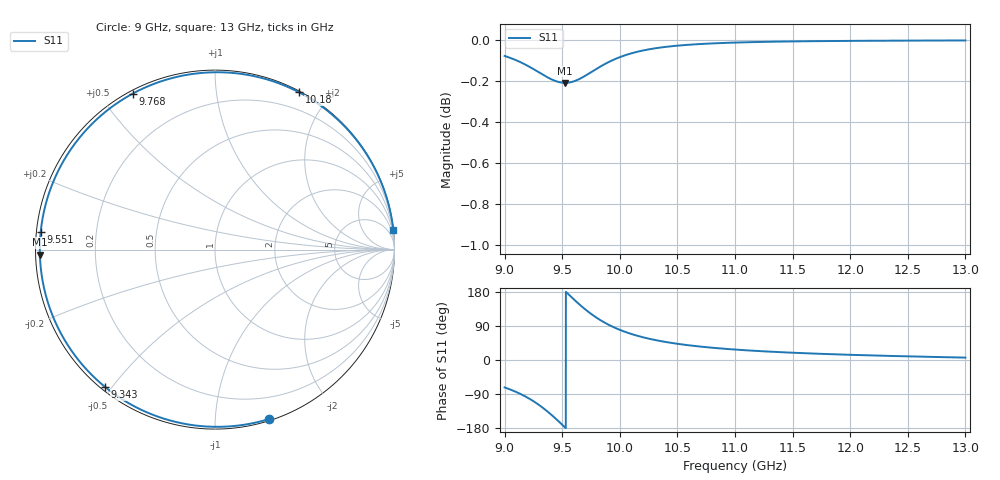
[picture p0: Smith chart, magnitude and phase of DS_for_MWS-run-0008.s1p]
! TOUCHSTONE file generated by CST DESIGN STUDIO
! Date and time: Tue Feb  4 15:47:22 2025
! Project name: C:\Work\MatlabApps\UnitCellOptimizationMatlab\CST\unitcell.cst
! Tree item: Tasks\Sweep1\SPara1\S-Parameters
! Header version: 2024
! Port assignment regex: !\s*Touchstone port\s*([0-9]+)\s*=\s*(CST MWS port|CST DES external port|CST DES block port)\s*(.+)\s* \(\"(.*)\"\)(\s*mode\s*([0-9]+))?.*
! Touchstone port assignment:
! Touchstone port 1 = CST DES external port 1 ("")
# GHz S MA R 50
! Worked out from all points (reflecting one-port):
!   4001 points, 9 GHz to 13 GHz, reference 50 ohm
!   lowest |S11| = -0.2 dB at 9.526 GHz (marker M1), VSWR 82.62, Z = 0.605 - j0.704 ohm
!   phase of S11 starts at -72 deg and turns -281 deg over the sweep
!   S11 on the Smith chart (normalised r, x): 9 GHz: 0.01, -1.37; 9.343 GHz: 0.01, -0.48; 9.551 GHz: 0.01, +0.05; 9.768 GHz: 0.01, +0.60; 10.18 GHz: 0.01, +1.67; 13 GHz: 0, +18
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9  0.9909 -72.4
9.095  0.9886 -83.6
9.201  0.9854 -99.7
9.275  0.9827 -113.7
9.343  0.9802 -128.7
9.386  0.9787 -139.4
9.43  0.9774 -151.0
9.5  0.9762 -170.8
9.526  0.9761 -178.4
9.551  0.9762 174.3
9.605  0.977 158.8
9.666  0.9787 142.2
9.717  0.9806 129.5
9.768  0.9826 117.9
9.817  0.9845 107.9
9.87  0.9864 98.3
9.93  0.9883 88.9
10  0.9902 79.6
10.085  0.9921 70.2
10.177  0.9936 61.9
10.324  0.9953 51.7
10.5  0.9966 42.7
10.722  0.9976 34.7
11  0.9983 27.6
11.5  0.999 19.2
12  0.9993 13.7
12.5  0.9994 9.6
13  0.9995 6.3
